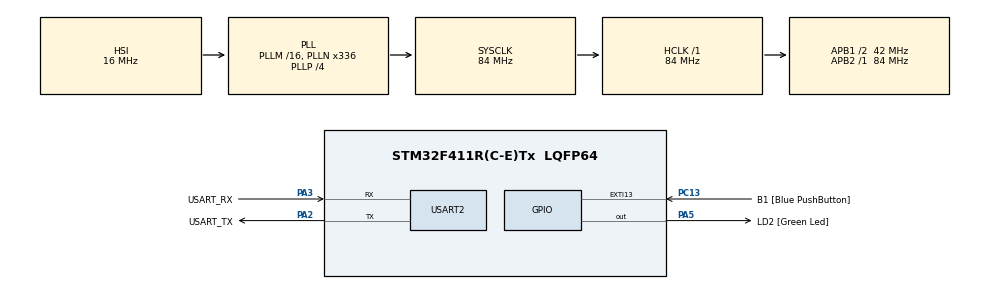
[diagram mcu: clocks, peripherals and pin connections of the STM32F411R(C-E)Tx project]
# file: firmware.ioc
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FREERTOS.Tasks01=controlTask,32,256,StartControlTask,Default,NULL,Dynamic,NULL,NULL;commTask,24,256,StartCommTask,Default,NULL,Dynamic,NULL,NULL
Mcu.Family=STM32F4
Mcu.Name=STM32F411R(C-E)Tx
Mcu.Package=LQFP64
NVIC.EXTI15_10_IRQn=true\:6\:0\:true\:false\:true\:true\:true\:true\:true
NVIC.PriorityGroup=NVIC_PRIORITYGROUP_4
NVIC.TIM1_BRK_TIM9_IRQn=true\:0\:0\:false\:false\:true\:false\:false\:true\:true
NVIC.TimeBase=TIM1_BRK_TIM9_IRQn
NVIC.TimeBaseIP=TIM9
NVIC.USART2_IRQn=true\:6\:0\:true\:false\:true\:true\:true\:true\:true
PA13.GPIO_Label=TMS
PA13.Mode=Serial_Wire
PA13.Signal=SYS_JTMS-SWDIO
PA14.GPIO_Label=TCK
PA14.Mode=Serial_Wire
PA14.Signal=SYS_JTCK-SWCLK
PA2.GPIO_Label=USART_TX
PA2.Mode=Asynchronous
PA2.Signal=USART2_TX
PA3.GPIO_Label=USART_RX
PA3.Mode=Asynchronous
PA3.Signal=USART2_RX
PA5.GPIO_Label=LD2 [Green Led]
PA5.Signal=GPIO_Output
PB3.GPIO_Label=SWO
PB3.Signal=SYS_JTDO-SWO
PC13-ANTI_TAMP.GPIO_Label=B1 [Blue PushButton]
PC13-ANTI_TAMP.GPIO_ModeDefaultEXTI=GPIO_MODE_IT_FALLING
PC13-ANTI_TAMP.Signal=GPXTI13
PC14-OSC32_IN.Mode=LSE-External-Oscillator
PC14-OSC32_IN.Signal=RCC_OSC32_IN
PC15-OSC32_OUT.Mode=LSE-External-Oscillator
PC15-OSC32_OUT.Signal=RCC_OSC32_OUT
PH0\ -\ OSC_IN.Mode=HSE-External-Clock-Source
PH0\ -\ OSC_IN.Signal=RCC_OSC_IN
PH1\ -\ OSC_OUT.Mode=HSE-External-Clock-Source
PH1\ -\ OSC_OUT.Signal=RCC_OSC_OUT
ProjectManager.HeapSize=0x200
ProjectManager.StackSize=0x400
ProjectManager.TargetToolchain=CMake
RCC.48MHZClocksFreq_Value=84000000
RCC.AHBFreq_Value=84000000
RCC.APB1CLKDivider=RCC_HCLK_DIV2
RCC.APB1Freq_Value=42000000
RCC.APB1TimFreq_Value=84000000
RCC.APB2Freq_Value=84000000
RCC.APB2TimFreq_Value=84000000
RCC.CortexFreq_Value=84000000
RCC.FLatency-AdvancedSettings=FLASH_LATENCY_2
RCC.HCLKFreq_Value=84000000
RCC.HSE_VALUE=8000000
RCC.HSI_VALUE=16000000
RCC.PLLN=336
RCC.PLLP=RCC_PLLP_DIV4
RCC.SYSCLKFreq_VALUE=84000000
RCC.SYSCLKSource=RCC_SYSCLKSOURCE_PLLCLK
RCC.VCOOutputFreq_Value=336000000
USART2.VirtualMode=VM_ASYNC
VP_FREERTOS_VS_CMSIS_V2.Mode=CMSIS_V2
VP_SYS_VS_tim9.Mode=TIM9
board=NUCLEO-F411RE

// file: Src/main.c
/* USER CODE BEGIN Header */
/**
  ******************************************************************************
  * @file           : main.c
  * @brief          : Main program body
  ******************************************************************************
  * @attention
  *
  * Copyright (c) 2026 STMicroelectronics.
  * All rights reserved.
  *
  * This software is licensed under terms that can be found in the LICENSE file
  * in the root directory of this software component.
  * If no LICENSE file comes with this software, it is provided AS-IS.
  *
  ******************************************************************************
  */
/* USER CODE END Header */
#include "main.h"
#include "cmsis_os.h"
#include "usart.h"
#include "gpio.h"

/* USER CODE BEGIN Includes */
#include "tasks.h"
/* USER CODE END Includes */

void SystemClock_Config(void);
void MX_FREERTOS_Init(void);

int main(void)
{

  /* MCU Configuration--------------------------------------------------------*/

  /* Reset of all peripherals, Initializes the Flash interface and the Systick. */
  HAL_Init();

  /* Configure the system clock */
  SystemClock_Config();

  /* Initialize all configured peripherals */
  MX_GPIO_Init();
  MX_USART2_UART_Init();

  /* Init scheduler */
  osKernelInitialize();  /* Call init function for freertos objects (in cmsis_os2.c) */
  MX_FREERTOS_Init();

  /* Start scheduler */
  osKernelStart();

  /* We should never get here as control is now taken by the scheduler */

  /* Infinite loop */
  while (1)
  {

  }
}

void SystemClock_Config(void)
{
  RCC_OscInitTypeDef RCC_OscInitStruct = {0};
  RCC_ClkInitTypeDef RCC_ClkInitStruct = {0};

  /** Configure the main internal regulator output voltage
  */
  __HAL_RCC_PWR_CLK_ENABLE();
  __HAL_PWR_VOLTAGESCALING_CONFIG(PWR_REGULATOR_VOLTAGE_SCALE1);

  /** Initializes the RCC Oscillators according to the specified parameters
  * in the RCC_OscInitTypeDef structure.
  */
  RCC_OscInitStruct.OscillatorType = RCC_OSCILLATORTYPE_HSI;
  RCC_OscInitStruct.HSIState = RCC_HSI_ON;
  RCC_OscInitStruct.HSICalibrationValue = RCC_HSICALIBRATION_DEFAULT;
  RCC_OscInitStruct.PLL.PLLState = RCC_PLL_ON;
  RCC_OscInitStruct.PLL.PLLSource = RCC_PLLSOURCE_HSI;
  RCC_OscInitStruct.PLL.PLLM = 16;
  RCC_OscInitStruct.PLL.PLLN = 336;
  RCC_OscInitStruct.PLL.PLLP = RCC_PLLP_DIV4;
  RCC_OscInitStruct.PLL.PLLQ = 4;
  if (HAL_RCC_OscConfig(&RCC_OscInitStruct) != HAL_OK)
  {
    Error_Handler();
  }

  /** Initializes the CPU, AHB and APB buses clocks
  */
  RCC_ClkInitStruct.ClockType = RCC_CLOCKTYPE_HCLK|RCC_CLOCKTYPE_SYSCLK
                              |RCC_CLOCKTYPE_PCLK1|RCC_CLOCKTYPE_PCLK2;
  RCC_ClkInitStruct.SYSCLKSource = RCC_SYSCLKSOURCE_PLLCLK;
  RCC_ClkInitStruct.AHBCLKDivider = RCC_SYSCLK_DIV1;
  RCC_ClkInitStruct.APB1CLKDivider = RCC_HCLK_DIV2;
  RCC_ClkInitStruct.APB2CLKDivider = RCC_HCLK_DIV1;

  if (HAL_RCC_ClockConfig(&RCC_ClkInitStruct, FLASH_LATENCY_2) != HAL_OK)
  {
    Error_Handler();
  }
}

/* USER CODE BEGIN 4 */
void HAL_GPIO_EXTI_Callback(uint16_t GPIO_Pin)
{
  if (GPIO_Pin == B1_Pin) {
    BtnLand();
  }
}

void HAL_UART_RxCpltCallback(UART_HandleTypeDef *huart) {
  if (huart->Instance == USART2) {
    CommTask_OnByte();
  }
}

void HAL_UART_ErrorCallback(UART_HandleTypeDef *huart)
{
  if (huart->Instance == USART2) {
    CommTask_OnUartError();
  }
}
/* USER CODE END 4 */

void HAL_TIM_PeriodElapsedCallback(TIM_HandleTypeDef *htim)
{
  if (htim->Instance == TIM9)
  {
    HAL_IncTick();
  }
}

void Error_Handler(void)
{
  __disable_irq();
  while (1)
  {
  }
}

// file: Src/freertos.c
/* USER CODE BEGIN Header */
/**
  ******************************************************************************
  * File Name          : freertos.c
  * Description        : Code for freertos applications
  ******************************************************************************
  * @attention
  *
  * Copyright (c) 2026 STMicroelectronics.
  * All rights reserved.
  *
  * This software is licensed under terms that can be found in the LICENSE file
  * in the root directory of this software component.
  * If no LICENSE file comes with this software, it is provided AS-IS.
  *
  ******************************************************************************
  */
/* USER CODE END Header */

#include "FreeRTOS.h"
#include "task.h"
#include "main.h"
#include "cmsis_os.h"

/* USER CODE BEGIN Includes */
#include "dcs_type.h"
#include "tasks.h"
/* USER CODE END Includes */

/* USER CODE BEGIN Variables */
osMutexId_t droneStateMutex;
osMessageQueueId_t cmdQueue;
osMessageQueueId_t logQueue;
/* USER CODE END Variables */
/* Definitions for controlTask */
osThreadId_t controlTaskHandle;
const osThreadAttr_t controlTask_attributes = {
  .name = "controlTask",
  .stack_size = 256 * 4,
  .priority = (osPriority_t) osPriorityAboveNormal,
};
/* Definitions for commTask */
osThreadId_t commTaskHandle;
const osThreadAttr_t commTask_attributes = {
  .name = "commTask",
  .stack_size = 256 * 4,
  .priority = (osPriority_t) osPriorityNormal,
};

void StartControlTask(void *argument);
void StartCommTask(void *argument);

void MX_FREERTOS_Init(void); /* (MISRA C 2004 rule 8.1) */

void MX_FREERTOS_Init(void) {

  /* USER CODE BEGIN RTOS_MUTEX */
  // Priority inherit not applicable currently, but future proofed (for priority changes/ additional tasks)
  const osMutexAttr_t droneStateMutex_attr = { .name = "droneStateMutex", .attr_bits = osMutexPrioInherit };
  droneStateMutex = osMutexNew(&droneStateMutex_attr);
  /* USER CODE END RTOS_MUTEX */

  /* USER CODE BEGIN RTOS_QUEUES */
  cmdQueue = osMessageQueueNew(10, sizeof(Cmd), NULL);
  logQueue = osMessageQueueNew(10, sizeof(LogMsg), NULL);
  /* USER CODE END RTOS_QUEUES */

  /* Create the thread(s) */
  /* creation of controlTask */
  controlTaskHandle = osThreadNew(StartControlTask, NULL, &controlTask_attributes);

  /* creation of commTask */
  commTaskHandle = osThreadNew(StartCommTask, NULL, &commTask_attributes);

}

void StartControlTask(void *argument)
{
  /* USER CODE BEGIN StartControlTask */
  ControlTask_Run();
  /* USER CODE END StartControlTask */
}

void StartCommTask(void *argument)
{
  /* USER CODE BEGIN StartCommTask */
  CommTask_Run();
  /* USER CODE END StartCommTask */
}
